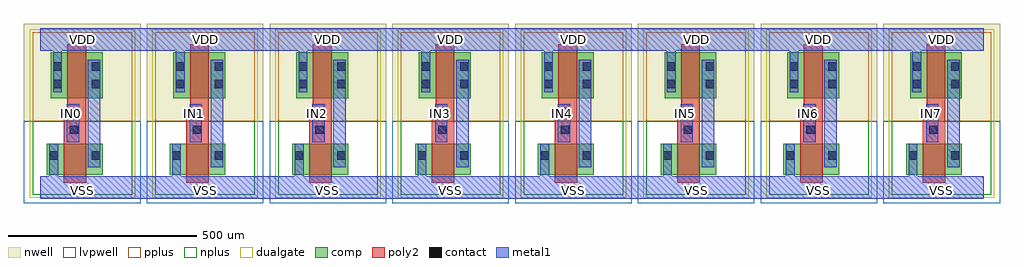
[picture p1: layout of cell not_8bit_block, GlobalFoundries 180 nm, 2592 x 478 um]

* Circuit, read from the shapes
.subckt not_8bit_block IN0 IN1 IN2 IN3 IN4 IN5 IN6 IN7 INV_OUT0 INV_OUT1 INV_OUT2 INV_OUT3 INV_OUT4 INV_OUT5 INV_OUT6 INV_OUT7 VDD VSS
XM1 INV_OUT0 IN0 VSS VSUBS nfet_06v0 w=82u l=60u
XM2 INV_OUT1 IN1 VSS VSUBS nfet_06v0 w=82u l=60u
XM3 INV_OUT2 IN2 VSS VSUBS nfet_06v0 w=82u l=60u
XM4 INV_OUT3 IN3 VSS VSUBS nfet_06v0 w=82u l=60u
XM5 INV_OUT4 IN4 VSS VSUBS nfet_06v0 w=82u l=60u
XM6 INV_OUT5 IN5 VSS VSUBS nfet_06v0 w=82u l=60u
XM7 INV_OUT6 IN6 VSS VSUBS nfet_06v0 w=82u l=60u
XM8 INV_OUT7 IN7 VSS VSUBS nfet_06v0 w=82u l=60u
XM9 INV_OUT0 IN0 VDD n1 pfet_06v0 w=122u l=50u
XM10 INV_OUT1 IN1 VDD n2 pfet_06v0 w=122u l=50u
XM11 INV_OUT2 IN2 VDD n3 pfet_06v0 w=122u l=50u
XM12 INV_OUT3 IN3 VDD n4 pfet_06v0 w=122u l=50u
XM13 INV_OUT4 IN4 VDD n5 pfet_06v0 w=122u l=50u
XM14 INV_OUT5 IN5 VDD n6 pfet_06v0 w=122u l=50u
XM15 INV_OUT6 IN6 VDD n7 pfet_06v0 w=122u l=50u
XM16 INV_OUT7 IN7 VDD n8 pfet_06v0 w=122u l=50u
.ends

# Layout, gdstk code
import gdstk
lib = gdstk.Library(unit=1e-6, precision=1e-07)
def R(c, l, rs):  # rectangles x0, y0, x1, y1
    for r in rs: c.add(gdstk.rectangle(r[:2], r[2:], *l))
def A(c, l, x, y, w, h, nx, ny, dx, dy):  # array of equal rectangles
    R(c, l, [(x+i*dx, y+j*dy, x+i*dx+w, y+j*dy+h) for i in range(nx) for j in range(ny)])
def P(c, l, *ps):  # polygons
    for p in ps: c.add(gdstk.Polygon(p, *l))
nwell = (21, 0)
comp = (22, 0)
poly2 = (30, 0)
pplus = (31, 0)
nplus = (32, 0)
contact = (33, 0)
metal1 = (34, 0)
dualgate = (55, 0)
lvpwell = (204, 0)

not_8bit_block = lib.new_cell('not_8bit_block')
A(not_8bit_block, nwell, -43, -1824, 310, 259, 8, 1, 326, 0)
A(not_8bit_block, comp, 18, -1966, 148, 82, 8, 1, 326, 0)
A(not_8bit_block, comp, 28, -1764, 138, 122, 8, 1, 326, 0)
P(not_8bit_block, poly2, [(62,-1988),(62,-1807),(72,-1807),(72,-1620),(122,-1620),(122,-1988)],
  [(388,-1988),(388,-1807),(398,-1807),(398,-1620),(448,-1620),(448,-1988)],
  [(714,-1988),(714,-1807),(724,-1807),(724,-1620),(774,-1620),(774,-1988)],
  [(1040,-1988),(1040,-1807),(1050,-1807),(1050,-1620),(1100,-1620),(1100,-1988)],
  [(1366,-1988),(1366,-1807),(1376,-1807),(1376,-1620),(1426,-1620),(1426,-1988)],
  [(1692,-1988),(1692,-1807),(1702,-1807),(1702,-1620),(1752,-1620),(1752,-1988)],
  [(2018,-1988),(2018,-1807),(2028,-1807),(2028,-1620),(2078,-1620),(2078,-1988)],
  [(2344,-1988),(2344,-1807),(2354,-1807),(2354,-1620),(2404,-1620),(2404,-1988)])
A(not_8bit_block, pplus, -20, -1824, 264, 236, 8, 1, 326, 0)
A(not_8bit_block, nplus, -20, -2020, 264, 196, 8, 1, 326, 0)
A(not_8bit_block, contact, 79, -1858, 22, 22, 8, 2, 326, 47)
R(not_8bit_block, contact, [(25,-1926.5,47,-1904.5), (137,-1926.5,159,-1904.5), (351,-1926.5,373,-1904.5), (463,-1926.5,485,-1904.5), (677,-1926.5,699,-1904.5), (789,-1926.5,811,-1904.5), (1003,-1926.5,1025,-1904.5), (1115,-1926.5,1137,-1904.5), (1329,-1926.5,1351,-1904.5), (1441,-1926.5,1463,-1904.5), (1655,-1926.5,1677,-1904.5), (1767,-1926.5,1789,-1904.5), (1981,-1926.5,2003,-1904.5), (2093,-1926.5,2115,-1904.5), (2307,-1926.5,2329,-1904.5), (2419,-1926.5,2441,-1904.5), (35,-1737,57,-1715), (137,-1737,159,-1715), (361,-1737,383,-1715), (463,-1737,485,-1715), (687,-1737,709,-1715), (789,-1737,811,-1715), (1013,-1737,1035,-1715), (1115,-1737,1137,-1715), (1339,-1737,1361,-1715), (1441,-1737,1463,-1715), (1665,-1737,1687,-1715), (1767,-1737,1789,-1715), (1991,-1737,2013,-1715), (2093,-1737,2115,-1715), (2317,-1737,2339,-1715), (2419,-1737,2441,-1715), (35,-1690,57,-1668), (137,-1690,159,-1668), (361,-1690,383,-1668), (463,-1690,485,-1668), (687,-1690,709,-1668), (789,-1690,811,-1668), (1013,-1690,1035,-1668), (1115,-1690,1137,-1668), (1339,-1690,1361,-1668), (1441,-1690,1463,-1668), (1665,-1690,1687,-1668), (1767,-1690,1789,-1668), (1991,-1690,2013,-1668), (2093,-1690,2115,-1668), (2317,-1690,2339,-1668), (2419,-1690,2441,-1668)])
A(not_8bit_block, metal1, 126.5, -1947, 33, 286, 8, 1, 326, 0)
A(not_8bit_block, metal1, 71, -1880, 32.5, 100, 8, 1, 326, 0)
P(not_8bit_block, metal1, [(34.5,-1747),(34.5,-1638),(0,-1638),(0,-1578),(2506,-1578),(2506,-1638),(2339.5,-1638),(2339.5,-1747),(2316.5,-1747),(2316.5,-1638),(2013.5,-1638),(2013.5,-1747),(1990.5,-1747),(1990.5,-1638),(1687.5,-1638),(1687.5,-1747),(1664.5,-1747),(1664.5,-1638),(1361.5,-1638),(1361.5,-1747),(1338.5,-1747),(1338.5,-1638),(1035.5,-1638),(1035.5,-1747),(1012.5,-1747),(1012.5,-1638),(709.5,-1638),(709.5,-1747),(686.5,-1747),(686.5,-1638),(383.5,-1638),(383.5,-1747),(360.5,-1747),(360.5,-1638),(57.5,-1638),(57.5,-1747)],
  [(0,-2030),(0,-1970),(24.5,-1970),(24.5,-1884),(47.5,-1884),(47.5,-1970),(350.5,-1970),(350.5,-1884),(373.5,-1884),(373.5,-1970),(676.5,-1970),(676.5,-1884),(699.5,-1884),(699.5,-1970),(1002.5,-1970),(1002.5,-1884),(1025.5,-1884),(1025.5,-1970),(1328.5,-1970),(1328.5,-1884),(1351.5,-1884),(1351.5,-1970),(1654.5,-1970),(1654.5,-1884),(1677.5,-1884),(1677.5,-1970),(1980.5,-1970),(1980.5,-1884),(2003.5,-1884),(2003.5,-1970),(2306.5,-1970),(2306.5,-1884),(2329.5,-1884),(2329.5,-1970),(2506,-1970),(2506,-2030)])
A(not_8bit_block, dualgate, -28, -2028, 280, 448, 8, 1, 326, 0)
A(not_8bit_block, lvpwell, -43, -2043, 310, 219, 8, 1, 326, 0)
not_8bit_block.add(gdstk.Label('IN0', (84,-1804), layer=34, texttype=10))
not_8bit_block.add(gdstk.Label('INV_OUT0', (140,-1804), layer=34, texttype=10))
not_8bit_block.add(gdstk.Label('IN1', (410,-1804), layer=34, texttype=10))
not_8bit_block.add(gdstk.Label('INV_OUT1', (466,-1804), layer=34, texttype=10))
not_8bit_block.add(gdstk.Label('IN2', (736,-1804), layer=34, texttype=10))
not_8bit_block.add(gdstk.Label('INV_OUT2', (792,-1804), layer=34, texttype=10))
not_8bit_block.add(gdstk.Label('IN3', (1062,-1804), layer=34, texttype=10))
not_8bit_block.add(gdstk.Label('INV_OUT3', (1118,-1804), layer=34, texttype=10))
not_8bit_block.add(gdstk.Label('IN4', (1388,-1804), layer=34, texttype=10))
not_8bit_block.add(gdstk.Label('INV_OUT4', (1444,-1804), layer=34, texttype=10))
not_8bit_block.add(gdstk.Label('IN5', (1714,-1804), layer=34, texttype=10))
not_8bit_block.add(gdstk.Label('INV_OUT5', (1770,-1804), layer=34, texttype=10))
not_8bit_block.add(gdstk.Label('IN6', (2040,-1804), layer=34, texttype=10))
not_8bit_block.add(gdstk.Label('INV_OUT6', (2096,-1804), layer=34, texttype=10))
not_8bit_block.add(gdstk.Label('IN7', (2366,-1804), layer=34, texttype=10))
not_8bit_block.add(gdstk.Label('INV_OUT7', (2422,-1804), layer=34, texttype=10))
not_8bit_block.add(gdstk.Label('VDD', (112,-1608), layer=34, texttype=10))
not_8bit_block.add(gdstk.Label('VSS', (438,-2008), layer=34, texttype=10))
not_8bit_block.add(gdstk.Label('VDD', (438,-1608), layer=34, texttype=10))
not_8bit_block.add(gdstk.Label('VSS', (764,-2008), layer=34, texttype=10))
not_8bit_block.add(gdstk.Label('VDD', (764,-1608), layer=34, texttype=10))
not_8bit_block.add(gdstk.Label('VSS', (1090,-2008), layer=34, texttype=10))
not_8bit_block.add(gdstk.Label('VDD', (1090,-1608), layer=34, texttype=10))
not_8bit_block.add(gdstk.Label('VSS', (1416,-2008), layer=34, texttype=10))
not_8bit_block.add(gdstk.Label('VDD', (1416,-1608), layer=34, texttype=10))
not_8bit_block.add(gdstk.Label('VSS', (1742,-2008), layer=34, texttype=10))
not_8bit_block.add(gdstk.Label('VDD', (1742,-1608), layer=34, texttype=10))
not_8bit_block.add(gdstk.Label('VSS', (2068,-2008), layer=34, texttype=10))
not_8bit_block.add(gdstk.Label('VDD', (2068,-1608), layer=34, texttype=10))
not_8bit_block.add(gdstk.Label('VSS', (112,-2008), layer=34, texttype=10))
not_8bit_block.add(gdstk.Label('VDD', (2394,-1608), layer=34, texttype=10))
not_8bit_block.add(gdstk.Label('VSS', (2394,-2008), layer=34, texttype=10))

lib.write_gds('not_8bit_block.gds')
